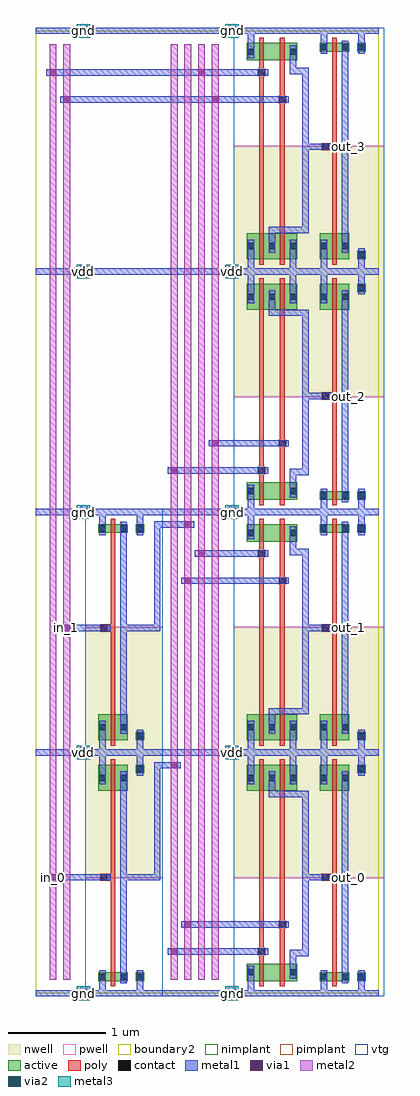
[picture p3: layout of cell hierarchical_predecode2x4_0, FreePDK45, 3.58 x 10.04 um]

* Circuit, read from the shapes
.subckt hierarchical_predecode2x4_0 gnd in_0 in_1 out_0 out_1 out_2 out_3 vdd
M1 pand2_2/A in_0 gnd gnd nfet w=0.09u l=0.05u
M2 pand2_2/B in_1 gnd gnd nfet w=0.09u l=0.05u
M3 pand2_2/pnand2_0_0/nmos_m1_w0_180_sm1_dactive_2/D pand2_2/A gnd gnd nfet w=0.18u l=0.05u
M4 pand2_3/pnand2_0_0/nmos_m1_w0_180_sm1_dactive_2/D in_0 gnd gnd nfet w=0.18u l=0.05u
M5 pand2_4/pnand2_0_0/nmos_m1_w0_180_sm1_dactive_2/D pand2_2/A gnd gnd nfet w=0.18u l=0.05u
M6 pand2_5/pnand2_0_0/nmos_m1_w0_180_sm1_dactive_2/D in_0 gnd gnd nfet w=0.18u l=0.05u
M7 pand2_2/pdriver_1/A pand2_2/B pand2_2/pnand2_0_0/nmos_m1_w0_180_sm1_dactive_2/D gnd nfet w=0.18u l=0.05u
M8 pand2_3/pdriver_1/A pand2_2/B pand2_3/pnand2_0_0/nmos_m1_w0_180_sm1_dactive_2/D gnd nfet w=0.18u l=0.05u
M9 pand2_4/pdriver_1/A in_1 pand2_4/pnand2_0_0/nmos_m1_w0_180_sm1_dactive_2/D gnd nfet w=0.18u l=0.05u
M10 pand2_5/pdriver_1/A in_1 pand2_5/pnand2_0_0/nmos_m1_w0_180_sm1_dactive_2/D gnd nfet w=0.18u l=0.05u
M11 out_0 pand2_2/pdriver_1/A gnd gnd nfet w=0.09u l=0.05u
M12 out_1 pand2_3/pdriver_1/A gnd gnd nfet w=0.09u l=0.05u
M13 out_2 pand2_4/pdriver_1/A gnd gnd nfet w=0.09u l=0.05u
M14 out_3 pand2_5/pdriver_1/A gnd gnd nfet w=0.09u l=0.05u
M15 pand2_2/A in_0 vdd vdd pfet w=0.27u l=0.05u
M16 pand2_2/B in_1 vdd vdd pfet w=0.27u l=0.05u
M17 pand2_2/pdriver_1/A pand2_2/A vdd vdd pfet w=0.27u l=0.05u
M18 pand2_3/pdriver_1/A in_0 vdd vdd pfet w=0.27u l=0.05u
M19 pand2_4/pdriver_1/A pand2_2/A vdd vdd pfet w=0.27u l=0.05u
M20 pand2_5/pdriver_1/A in_0 vdd vdd pfet w=0.27u l=0.05u
M21 vdd pand2_2/B pand2_2/pdriver_1/A vdd pfet w=0.27u l=0.05u
M22 vdd pand2_2/B pand2_3/pdriver_1/A vdd pfet w=0.27u l=0.05u
M23 vdd in_1 pand2_4/pdriver_1/A vdd pfet w=0.27u l=0.05u
M24 vdd in_1 pand2_5/pdriver_1/A vdd pfet w=0.27u l=0.05u
M25 out_0 pand2_2/pdriver_1/A vdd vdd pfet w=0.27u l=0.05u
M26 out_1 pand2_3/pdriver_1/A vdd vdd pfet w=0.27u l=0.05u
M27 out_2 pand2_4/pdriver_1/A vdd vdd pfet w=0.27u l=0.05u
M28 out_3 pand2_5/pdriver_1/A vdd vdd pfet w=0.27u l=0.05u
.ends

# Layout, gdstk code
import gdstk
lib = gdstk.Library(unit=1e-6, precision=5e-10)
def R(c, l, rs):  # rectangles x0, y0, x1, y1
    for r in rs: c.add(gdstk.rectangle(r[:2], r[2:], *l))
def A(c, l, x, y, w, h, nx, ny, dx, dy):  # array of equal rectangles
    R(c, l, [(x+i*dx, y+j*dy, x+i*dx+w, y+j*dy+h) for i in range(nx) for j in range(ny)])
active = (1, 0)
pwell = (2, 0)
nwell = (3, 0)
nimplant = (4, 0)
pimplant = (5, 0)
vtg = (6, 0)
poly = (9, 0)
contact = (10, 0)
metal1 = (11, 0)
via1 = (12, 0)
metal2 = (13, 0)
via2 = (14, 0)
metal3 = (15, 0)
boundary2 = (239, 0)

contact_10 = lib.new_cell('contact_10')
R(contact_10, active, [(0,0.0225,0.09,0.1125)])
R(contact_10, nwell, [(-0.055,-0.0325,0.145,0.1675)])
R(contact_10, pimplant, [(0,0.0225,0.09,0.1125)])
R(contact_10, contact, [(0.0125,0.035,0.0775,0.1)])
R(contact_10, metal1, [(0.0125,0,0.0775,0.135)])
R(contact_10, boundary2, [(-0.055,-0.0325,0.145,0.1675)])

pmos_m1_w0_270_sm1_dm1_d = lib.new_cell('pmos_m1_w0_270_sm1_dm1_da_p')
R(pmos_m1_w0_270_sm1_dm1_d, active, [(0,0,0.305,0.27)])
R(pmos_m1_w0_270_sm1_dm1_d, nwell, [(-0.08,-0.08,0.385,0.35)])
R(pmos_m1_w0_270_sm1_dm1_d, pimplant, [(0,0,0.305,0.27)])
R(pmos_m1_w0_270_sm1_dm1_d, vtg, [(-0.08,-0.08,0.385,0.35)])
R(pmos_m1_w0_270_sm1_dm1_d, poly, [(0.1275,-0.055,0.1775,0.325), (0.1275,-0.055,0.1775,0.325)])
R(pmos_m1_w0_270_sm1_dm1_d, metal1, [(0.0125,0.0675,0.0775,0.2025), (0.2275,0.0675,0.2925,0.2025)])
R(pmos_m1_w0_270_sm1_dm1_d, boundary2, [(-0.08,-0.08,0.385,0.35)])
pmos_m1_w0_270_sm1_dm1_d.add(gdstk.Reference(contact_10, (0,0.0675)))
pmos_m1_w0_270_sm1_dm1_d.add(gdstk.Reference(contact_10, (0.215,0.0675)))
pmos_m1_w0_270_sm1_dm1_d.add(gdstk.Label('S', (0.045,0.135), layer=11, texttype=0))
pmos_m1_w0_270_sm1_dm1_d.add(gdstk.Label('D', (0.26,0.135), layer=11, texttype=0))
pmos_m1_w0_270_sm1_dm1_d.add(gdstk.Label('G', (0.1525,0.135), layer=9, texttype=0))

contact_9 = lib.new_cell('contact_9')
R(contact_9, active, [(0,0.0225,0.09,0.1125)])
R(contact_9, pwell, [(-0.055,-0.0325,0.145,0.1675)])
R(contact_9, nimplant, [(0,0.0225,0.09,0.1125)])
R(contact_9, contact, [(0.0125,0.035,0.0775,0.1)])
R(contact_9, metal1, [(0.0125,0,0.0775,0.135)])
R(contact_9, boundary2, [(-0.055,-0.0325,0.145,0.1675)])

nmos_m1_w0_090_sm1_dm1_d = lib.new_cell('nmos_m1_w0_090_sm1_dm1_da_p')
R(nmos_m1_w0_090_sm1_dm1_d, active, [(0,0,0.305,0.09)])
R(nmos_m1_w0_090_sm1_dm1_d, pwell, [(-0.08,-0.08,0.385,0.17)])
R(nmos_m1_w0_090_sm1_dm1_d, nimplant, [(0,0,0.305,0.09)])
R(nmos_m1_w0_090_sm1_dm1_d, vtg, [(-0.08,-0.08,0.385,0.17)])
R(nmos_m1_w0_090_sm1_dm1_d, poly, [(0.1275,-0.055,0.1775,0.145), (0.1275,-0.055,0.1775,0.145)])
R(nmos_m1_w0_090_sm1_dm1_d, metal1, [(0.0125,-0.0225,0.0775,0.1125), (0.2275,-0.0225,0.2925,0.1125)])
R(nmos_m1_w0_090_sm1_dm1_d, boundary2, [(-0.08,-0.08,0.385,0.17)])
nmos_m1_w0_090_sm1_dm1_d.add(gdstk.Reference(contact_9, (0,-0.0225)))
nmos_m1_w0_090_sm1_dm1_d.add(gdstk.Reference(contact_9, (0.215,-0.0225)))
nmos_m1_w0_090_sm1_dm1_d.add(gdstk.Label('S', (0.045,0.045), layer=11, texttype=0))
nmos_m1_w0_090_sm1_dm1_d.add(gdstk.Label('D', (0.26,0.045), layer=11, texttype=0))
nmos_m1_w0_090_sm1_dm1_d.add(gdstk.Label('G', (0.1525,0.045), layer=9, texttype=0))

contact_11 = lib.new_cell('contact_11')
R(contact_11, active, [(0,0.0225,0.09,0.1125)])
R(contact_11, nwell, [(-0.055,-0.0325,0.145,0.1675)])
R(contact_11, nimplant, [(0,0.0225,0.09,0.1125)])
R(contact_11, contact, [(0.0125,0.035,0.0775,0.1)])
R(contact_11, metal1, [(0.0125,0,0.0775,0.135)])
R(contact_11, boundary2, [(-0.055,-0.0325,0.145,0.1675)])

contact_12 = lib.new_cell('contact_12')
R(contact_12, active, [(0,0.0225,0.09,0.1125)])
R(contact_12, pwell, [(-0.055,-0.0325,0.145,0.1675)])
R(contact_12, pimplant, [(0,0.0225,0.09,0.1125)])
R(contact_12, contact, [(0.0125,0.035,0.0775,0.1)])
R(contact_12, metal1, [(0.0125,0,0.0775,0.135)])
R(contact_12, boundary2, [(-0.055,-0.0325,0.145,0.1675)])

contact_13 = lib.new_cell('contact_13')
R(contact_13, poly, [(0.03,0,0.105,0.075)])
R(contact_13, contact, [(0.035,0.005,0.1,0.07)])
R(contact_13, metal1, [(0,0.005,0.135,0.07)])
R(contact_13, boundary2, [(0,0,0.135,0.075)])

pinv_2 = lib.new_cell('pinv_2')
R(pinv_2, pwell, [(-0.055,-0.0325,0.7425,1.1875)])
R(pinv_2, nwell, [(-0.055,1.1875,0.7425,2.51)])
R(pinv_2, vtg, [(-0.055,-0.0325,0.7425,1.1875), (-0.055,1.1875,0.7425,2.51)])
R(pinv_2, poly, [(0.2075,0.27,0.2575,2.025), (0.14,1.155,0.2075,1.23)])
R(pinv_2, metal1, [(0,-0.0325,0.6875,0.0325), (0.0925,-0.0325,0.1575,0.1025), (0.4775,0,0.5425,0.17), (0.3075,0.1025,0.3725,2.2825), (0.0725,1.16,0.2075,1.225), (0.34,1.16,0.405,1.225), (0.0925,2.1475,0.1575,2.5075), (0.4775,2.305,0.5425,2.475), (0,2.4425,0.6875,2.5075)])
R(pinv_2, boundary2, [(0,0,0.6875,2.475), (0,0,0.6875,2.475)])
pinv_2.add(gdstk.Reference(pmos_m1_w0_270_sm1_dm1_d, (0.08,2.08)))
pinv_2.add(gdstk.Reference(nmos_m1_w0_090_sm1_dm1_d, (0.08,0.125)))
pinv_2.add(gdstk.Reference(contact_11, (0.465,2.2375)))
pinv_2.add(gdstk.Reference(contact_12, (0.465,0.1025)))
pinv_2.add(gdstk.Reference(contact_13, (0.0725,1.155)))
pinv_2.add(gdstk.Label('A', (0.14,1.1925), layer=11, texttype=0))
pinv_2.add(gdstk.Label('Z', (0.3725,1.1925), layer=11, texttype=0))
pinv_2.add(gdstk.Label('gnd', (0.344,0), layer=11, texttype=0))
pinv_2.add(gdstk.Label('vdd', (0.344,2.475), layer=11, texttype=0))

pmos_m1_w0_270_sm1_dm1 = lib.new_cell('pmos_m1_w0_270_sm1_dm1')
R(pmos_m1_w0_270_sm1_dm1, active, [(0,0,0.305,0.27)])
R(pmos_m1_w0_270_sm1_dm1, nwell, [(-0.08,-0.08,0.385,0.35)])
R(pmos_m1_w0_270_sm1_dm1, pimplant, [(0,0,0.305,0.27)])
R(pmos_m1_w0_270_sm1_dm1, vtg, [(-0.08,-0.08,0.385,0.35)])
R(pmos_m1_w0_270_sm1_dm1, poly, [(0.1275,-0.055,0.1775,0.325), (0.1275,-0.055,0.1775,0.325)])
R(pmos_m1_w0_270_sm1_dm1, metal1, [(0.0125,0.0675,0.0775,0.2025), (0.2275,0.0675,0.2925,0.2025)])
R(pmos_m1_w0_270_sm1_dm1, boundary2, [(-0.08,-0.08,0.385,0.35)])
pmos_m1_w0_270_sm1_dm1.add(gdstk.Reference(contact_10, (0,0.0675)))
pmos_m1_w0_270_sm1_dm1.add(gdstk.Reference(contact_10, (0.215,0.0675)))
pmos_m1_w0_270_sm1_dm1.add(gdstk.Label('S', (0.045,0.135), layer=11, texttype=0))
pmos_m1_w0_270_sm1_dm1.add(gdstk.Label('D', (0.26,0.135), layer=11, texttype=0))
pmos_m1_w0_270_sm1_dm1.add(gdstk.Label('G', (0.1525,0.135), layer=9, texttype=0))

nmos_m1_w0_180_sm1_dacti = lib.new_cell('nmos_m1_w0_180_sm1_dactive')
R(nmos_m1_w0_180_sm1_dacti, active, [(0,0,0.305,0.18), (0.215,0.045,0.305,0.135)])
R(nmos_m1_w0_180_sm1_dacti, pwell, [(-0.08,-0.08,0.385,0.26)])
R(nmos_m1_w0_180_sm1_dacti, nimplant, [(0,0,0.305,0.18)])
R(nmos_m1_w0_180_sm1_dacti, vtg, [(-0.08,-0.08,0.385,0.26)])
R(nmos_m1_w0_180_sm1_dacti, poly, [(0.1275,-0.055,0.1775,0.235), (0.1275,-0.055,0.1775,0.235)])
R(nmos_m1_w0_180_sm1_dacti, metal1, [(0.0125,0.0225,0.0775,0.1575)])
R(nmos_m1_w0_180_sm1_dacti, boundary2, [(-0.08,-0.08,0.385,0.26)])
nmos_m1_w0_180_sm1_dacti.add(gdstk.Reference(contact_9, (0,0.0225)))
nmos_m1_w0_180_sm1_dacti.add(gdstk.Label('S', (0.045,0.09), layer=11, texttype=0))
nmos_m1_w0_180_sm1_dacti.add(gdstk.Label('D', (0.26,0.09), layer=1, texttype=0))
nmos_m1_w0_180_sm1_dacti.add(gdstk.Label('G', (0.1525,0.09), layer=9, texttype=0))

nmos_m1_w0_180_sactive_d = lib.new_cell('nmos_m1_w0_180_sactive_dm1')
R(nmos_m1_w0_180_sactive_d, active, [(0,0,0.305,0.18), (0,0.045,0.09,0.135)])
R(nmos_m1_w0_180_sactive_d, pwell, [(-0.08,-0.08,0.385,0.26)])
R(nmos_m1_w0_180_sactive_d, nimplant, [(0,0,0.305,0.18)])
R(nmos_m1_w0_180_sactive_d, vtg, [(-0.08,-0.08,0.385,0.26)])
R(nmos_m1_w0_180_sactive_d, poly, [(0.1275,-0.055,0.1775,0.235), (0.1275,-0.055,0.1775,0.235)])
R(nmos_m1_w0_180_sactive_d, metal1, [(0.2275,0.0225,0.2925,0.1575)])
R(nmos_m1_w0_180_sactive_d, boundary2, [(-0.08,-0.08,0.385,0.26)])
nmos_m1_w0_180_sactive_d.add(gdstk.Reference(contact_9, (0.215,0.0225)))
nmos_m1_w0_180_sactive_d.add(gdstk.Label('D', (0.26,0.09), layer=11, texttype=0))
nmos_m1_w0_180_sactive_d.add(gdstk.Label('S', (0.045,0.09), layer=1, texttype=0))
nmos_m1_w0_180_sactive_d.add(gdstk.Label('G', (0.1525,0.09), layer=9, texttype=0))

pnand2_0 = lib.new_cell('pnand2_0')
R(pnand2_0, pwell, [(-0.055,-0.0325,0.805,1.1875)])
R(pnand2_0, nwell, [(-0.055,1.1875,0.805,2.51)])
R(pnand2_0, vtg, [(-0.055,-0.0325,0.805,1.1875), (-0.055,1.1875,0.805,2.51)])
R(pnand2_0, poly, [(0.2075,0.36,0.2575,2.025), (0.4225,0.36,0.4725,2.025), (0.2075,0.39,0.2325,0.465), (0.4225,0.67,0.4475,0.745)])
R(pnand2_0, metal1, [(0,-0.0325,0.75,0.0325), (0.0925,-0.0325,0.1575,0.1475), (0.5225,0.2825,0.5875,0.4125), (0.5225,0.38,0.5875,0.445), (0.555,0.38,0.685,0.445), (0.6525,0.38,0.7175,0.445), (0.165,0.395,0.3,0.46), (0.6525,0.4125,0.7175,2.05), (0.38,0.675,0.515,0.74), (0.3075,2.0175,0.3725,2.0825), (0.34,2.0175,0.685,2.0825), (0.6525,2.0175,0.7175,2.0825), (0.3075,2.05,0.3725,2.1475), (0.0925,2.1475,0.1575,2.5075), (0.5225,2.1475,0.5875,2.5075), (0,2.4425,0.75,2.5075)])
R(pnand2_0, boundary2, [(0,0,0.75,2.475), (0,0,0.75,2.475)])
pnand2_0.add(gdstk.Reference(pmos_m1_w0_270_sm1_dm1, (0.08,2.08)))
pnand2_0.add(gdstk.Reference(pmos_m1_w0_270_sm1_dm1, (0.295,2.08)))
pnand2_0.add(gdstk.Reference(nmos_m1_w0_180_sm1_dacti, (0.08,0.125)))
pnand2_0.add(gdstk.Reference(nmos_m1_w0_180_sactive_d, (0.295,0.125)))
pnand2_0.add(gdstk.Reference(contact_13, (0.165,0.39)))
pnand2_0.add(gdstk.Reference(contact_13, (0.38,0.67)))
pnand2_0.add(gdstk.Label('Z', (0.685,2.05), layer=11, texttype=0))
pnand2_0.add(gdstk.Label('gnd', (0.375,0), layer=11, texttype=0))
pnand2_0.add(gdstk.Label('vdd', (0.375,2.475), layer=11, texttype=0))
pnand2_0.add(gdstk.Label('A', (0.2325,0.4275), layer=11, texttype=0))
pnand2_0.add(gdstk.Label('B', (0.4475,0.7075), layer=11, texttype=0))

pinv_1 = lib.new_cell('pinv_1')
R(pinv_1, pwell, [(-0.055,-0.0325,0.7425,1.1875)])
R(pinv_1, nwell, [(-0.055,1.1875,0.7425,2.51)])
R(pinv_1, vtg, [(-0.055,-0.0325,0.7425,1.1875), (-0.055,1.1875,0.7425,2.51)])
R(pinv_1, poly, [(0.2075,0.27,0.2575,2.025), (0.14,1.155,0.2075,1.23)])
R(pinv_1, metal1, [(0,-0.0325,0.6875,0.0325), (0.0925,-0.0325,0.1575,0.1025), (0.4775,0,0.5425,0.17), (0.3075,0.1025,0.3725,2.2825), (0.0725,1.16,0.2075,1.225), (0.34,1.16,0.405,1.225), (0.0925,2.1475,0.1575,2.5075), (0.4775,2.305,0.5425,2.475), (0,2.4425,0.6875,2.5075)])
R(pinv_1, boundary2, [(0,0,0.6875,2.475), (0,0,0.6875,2.475)])
pinv_1.add(gdstk.Reference(pmos_m1_w0_270_sm1_dm1_d, (0.08,2.08)))
pinv_1.add(gdstk.Reference(nmos_m1_w0_090_sm1_dm1_d, (0.08,0.125)))
pinv_1.add(gdstk.Reference(contact_11, (0.465,2.2375)))
pinv_1.add(gdstk.Reference(contact_12, (0.465,0.1025)))
pinv_1.add(gdstk.Reference(contact_13, (0.0725,1.155)))
pinv_1.add(gdstk.Label('A', (0.14,1.1925), layer=11, texttype=0))
pinv_1.add(gdstk.Label('Z', (0.3725,1.1925), layer=11, texttype=0))
pinv_1.add(gdstk.Label('gnd', (0.344,0), layer=11, texttype=0))
pinv_1.add(gdstk.Label('vdd', (0.344,2.475), layer=11, texttype=0))

pdriver = lib.new_cell('pdriver')
R(pdriver, pwell, [(-0.055,-0.0325,0.7425,1.1875)])
R(pdriver, nwell, [(-0.055,1.1875,0.7425,2.51)])
R(pdriver, vtg, [(-0.055,-0.0325,0.7425,1.1875), (-0.055,1.1875,0.7425,2.51)])
R(pdriver, metal1, [(0,-0.0325,0.6875,0.0325), (0.0725,1.16,0.2075,1.225), (0.34,1.16,0.405,1.225), (0,2.4425,0.6875,2.5075)])
R(pdriver, boundary2, [(0,0,0.6875,2.475), (0,0,0.6875,2.475)])
pdriver.add(gdstk.Reference(pinv_1, (0,0)))
pdriver.add(gdstk.Label('Z', (0.3725,1.1925), layer=11, texttype=0))
pdriver.add(gdstk.Label('A', (0.14,1.1925), layer=11, texttype=0))
pdriver.add(gdstk.Label('gnd', (0.344,0), layer=11, texttype=0))
pdriver.add(gdstk.Label('vdd', (0.344,2.475), layer=11, texttype=0))

pand2 = lib.new_cell('pand2')
R(pand2, metal1, [(0,-0.0325,1.4375,0.0325), (0.165,0.395,0.3,0.46), (0.38,0.675,0.515,0.74), (0.6525,1.16,0.7175,1.225), (0.685,1.16,0.89,1.225), (1.09,1.16,1.155,1.225), (0.6525,1.1925,0.7175,2.05), (0,2.4425,1.4375,2.5075)])
R(pand2, boundary2, [(0,0,1.4375,2.475), (0,0,1.4375,2.475)])
pand2.add(gdstk.Reference(pnand2_0, (0,0)))
pand2.add(gdstk.Reference(pdriver, (0.75,0)))
pand2.add(gdstk.Label('Z', (1.1225,1.1925), layer=11, texttype=0))
pand2.add(gdstk.Label('A', (0.2325,0.4275), layer=11, texttype=0))
pand2.add(gdstk.Label('B', (0.4475,0.7075), layer=11, texttype=0))
pand2.add(gdstk.Label('gnd', (0.719,0), layer=11, texttype=0))
pand2.add(gdstk.Label('vdd', (0.719,2.475), layer=11, texttype=0))

contact_14 = lib.new_cell('contact_14')
R(contact_14, metal1, [(0,0.035,0.135,0.1)])
R(contact_14, via1, [(0.035,0.035,0.1,0.1)])
R(contact_14, metal2, [(0.0325,0,0.1025,0.135)])
R(contact_14, boundary2, [(0,0,0.135,0.135)])

contact_6 = lib.new_cell('contact_6')
R(contact_6, metal1, [(0,0.035,0.135,0.1)])
R(contact_6, via1, [(0.035,0.035,0.1,0.1)])
R(contact_6, metal2, [(0.0325,0,0.1025,0.135)])
R(contact_6, boundary2, [(0,0,0.135,0.135)])

contact_7 = lib.new_cell('contact_7')
R(contact_7, metal2, [(0.035,0,0.105,0.14)])
R(contact_7, via2, [(0.035,0.035,0.105,0.105)])
R(contact_7, metal3, [(0,0.035,0.14,0.105)])
R(contact_7, boundary2, [(0,0,0.14,0.14)])

hierarchical_predecode2x = lib.new_cell('hierarchical_predecode2x4_0')
R(hierarchical_predecode2x, metal1, [(0,-0.0325,3.525,0.0325), (1.4225,0.395,2.32,0.46), (2.2875,0.395,2.3525,0.46), (1.5625,0.675,2.535,0.74), (2.5025,0.675,2.5675,0.74), (0.175,1.16,0.7,1.225), (0.6675,1.16,0.7325,1.225), (0.9325,1.16,0.9975,1.225), (0.965,1.16,1.2475,1.225), (1.215,1.16,1.28,1.225), (3.1775,1.16,3.2425,1.225), (1.215,1.1925,1.28,2.345), (1.215,2.3125,1.28,2.3775), (1.2475,2.3125,1.4225,2.3775), (0,2.4425,3.525,2.5075), (0,2.4425,3.525,2.5075), (0.315,3.725,0.7,3.79), (0.6675,3.725,0.7325,3.79), (0.9325,3.725,0.9975,3.79), (0.965,3.725,1.2475,3.79), (1.215,3.725,1.28,3.79), (3.1775,3.725,3.2425,3.79), (1.215,3.7575,1.28,4.82), (1.5625,4.21,2.535,4.275), (2.5025,4.21,2.5675,4.275), (1.7025,4.49,2.32,4.555), (2.2875,4.49,2.3525,4.555), (1.215,4.7875,1.28,4.8525), (1.2475,4.7875,1.5625,4.8525), (0,4.9175,3.525,4.9825), (0,4.9175,3.525,4.9825), (1.4225,5.345,2.32,5.41), (2.2875,5.345,2.3525,5.41), (1.8425,5.625,2.535,5.69), (2.5025,5.625,2.5675,5.69), (3.1775,6.11,3.2425,6.175), (0,7.3925,3.525,7.4575), (0,7.3925,3.525,7.4575), (3.1775,8.675,3.2425,8.74), (0.315,9.16,1.8425,9.225), (1.8425,9.16,2.535,9.225), (2.5025,9.16,2.5675,9.225), (0.175,9.44,1.7025,9.505), (1.7025,9.44,2.32,9.505), (2.2875,9.44,2.3525,9.505), (0,9.8675,3.525,9.9325)])
A(hierarchical_predecode2x, metal2, 1.3875, 0.14, 0.07, 9.62, 4, 1, 0.14, 0)
R(hierarchical_predecode2x, metal2, [(0.14,0.14,0.21,9.76), (0.28,0.14,0.35,9.76), (0.14,1.125,0.21,1.26), (0.28,3.69,0.35,3.825)])
A(hierarchical_predecode2x, metal3, 0.42, 2.405, 0.14, 0.14, 1, 3, 0, 2.475)
A(hierarchical_predecode2x, metal3, 1.9475, 2.405, 0.14, 0.14, 1, 3, 0, 2.475)
R(hierarchical_predecode2x, metal3, [(0.42,-0.07,0.56,0.07), (1.9475,-0.07,2.0875,0.07), (0.42,2.405,0.56,2.545), (1.9475,2.405,2.0875,2.545), (0.42,7.355,0.56,7.495), (1.9475,7.355,2.0875,7.495), (0.42,9.83,0.56,9.97), (1.9475,9.83,2.0875,9.97)])
R(hierarchical_predecode2x, boundary2, [(0,0,3.525,9.9)])
hierarchical_predecode2x.add(gdstk.Reference(pinv_2, (0.56,0)))
hierarchical_predecode2x.add(gdstk.Reference(pinv_2, (0.56,4.95), x_reflection=True))
hierarchical_predecode2x.add(gdstk.Reference(pand2, (2.0875,0)))
hierarchical_predecode2x.add(gdstk.Reference(pand2, (2.0875,4.95), x_reflection=True))
hierarchical_predecode2x.add(gdstk.Reference(pand2, (2.0875,4.95)))
hierarchical_predecode2x.add(gdstk.Reference(pand2, (2.0875,9.9), x_reflection=True))
hierarchical_predecode2x.add(gdstk.Reference(contact_14, (0.1075,1.125)))
hierarchical_predecode2x.add(gdstk.Reference(contact_14, (0.2475,3.69)))
hierarchical_predecode2x.add(gdstk.Reference(contact_14, (1.355,2.2775)))
hierarchical_predecode2x.add(gdstk.Reference(contact_14, (1.495,4.7525)))
hierarchical_predecode2x.add(gdstk.Reference(contact_6, (0.1075,9.405)))
hierarchical_predecode2x.add(gdstk.Reference(contact_6, (1.635,9.405)))
hierarchical_predecode2x.add(gdstk.Reference(contact_6, (0.2475,9.125)))
hierarchical_predecode2x.add(gdstk.Reference(contact_6, (1.775,9.125)))
hierarchical_predecode2x.add(gdstk.Reference(contact_14, (1.355,0.36)))
hierarchical_predecode2x.add(gdstk.Reference(contact_14, (1.495,0.64)))
hierarchical_predecode2x.add(gdstk.Reference(contact_14, (1.635,4.455)))
hierarchical_predecode2x.add(gdstk.Reference(contact_14, (1.495,4.175)))
hierarchical_predecode2x.add(gdstk.Reference(contact_14, (1.355,5.31)))
hierarchical_predecode2x.add(gdstk.Reference(contact_14, (1.775,5.59)))
hierarchical_predecode2x.add(gdstk.Reference(contact_14, (1.635,9.405)))
hierarchical_predecode2x.add(gdstk.Reference(contact_14, (1.775,9.125)))
hierarchical_predecode2x.add(gdstk.Reference(contact_6, (0.4225,2.4075)))
hierarchical_predecode2x.add(gdstk.Reference(contact_7, (0.42,2.405)))
hierarchical_predecode2x.add(gdstk.Reference(contact_6, (1.95,2.4075)))
hierarchical_predecode2x.add(gdstk.Reference(contact_7, (1.9475,2.405)))
hierarchical_predecode2x.add(gdstk.Reference(contact_6, (0.4225,-0.0675)))
hierarchical_predecode2x.add(gdstk.Reference(contact_7, (0.42,-0.07)))
hierarchical_predecode2x.add(gdstk.Reference(contact_6, (1.95,-0.0675)))
hierarchical_predecode2x.add(gdstk.Reference(contact_7, (1.9475,-0.07)))
hierarchical_predecode2x.add(gdstk.Reference(contact_6, (0.4225,2.4075)))
hierarchical_predecode2x.add(gdstk.Reference(contact_7, (0.42,2.405)))
hierarchical_predecode2x.add(gdstk.Reference(contact_6, (1.95,2.4075)))
hierarchical_predecode2x.add(gdstk.Reference(contact_7, (1.9475,2.405)))
hierarchical_predecode2x.add(gdstk.Reference(contact_6, (0.4225,4.8825)))
hierarchical_predecode2x.add(gdstk.Reference(contact_7, (0.42,4.88)))
hierarchical_predecode2x.add(gdstk.Reference(contact_6, (1.95,4.8825)))
hierarchical_predecode2x.add(gdstk.Reference(contact_7, (1.9475,4.88)))
hierarchical_predecode2x.add(gdstk.Reference(contact_6, (0.4225,7.3575)))
hierarchical_predecode2x.add(gdstk.Reference(contact_7, (0.42,7.355)))
hierarchical_predecode2x.add(gdstk.Reference(contact_6, (1.95,7.3575)))
hierarchical_predecode2x.add(gdstk.Reference(contact_7, (1.9475,7.355)))
hierarchical_predecode2x.add(gdstk.Reference(contact_6, (0.4225,4.8825)))
hierarchical_predecode2x.add(gdstk.Reference(contact_7, (0.42,4.88)))
hierarchical_predecode2x.add(gdstk.Reference(contact_6, (1.95,4.8825)))
hierarchical_predecode2x.add(gdstk.Reference(contact_7, (1.9475,4.88)))
hierarchical_predecode2x.add(gdstk.Reference(contact_6, (0.4225,7.3575)))
hierarchical_predecode2x.add(gdstk.Reference(contact_7, (0.42,7.355)))
hierarchical_predecode2x.add(gdstk.Reference(contact_6, (1.95,7.3575)))
hierarchical_predecode2x.add(gdstk.Reference(contact_7, (1.9475,7.355)))
hierarchical_predecode2x.add(gdstk.Reference(contact_6, (0.4225,9.8325)))
hierarchical_predecode2x.add(gdstk.Reference(contact_7, (0.42,9.83)))
hierarchical_predecode2x.add(gdstk.Reference(contact_6, (1.95,9.8325)))
hierarchical_predecode2x.add(gdstk.Reference(contact_7, (1.9475,9.83)))
hierarchical_predecode2x.add(gdstk.Label('in_0', (0.175,1.1925), layer=13, texttype=0))
hierarchical_predecode2x.add(gdstk.Label('in_1', (0.315,3.7575), layer=13, texttype=0))
hierarchical_predecode2x.add(gdstk.Label('vdd', (0.49,7.425), layer=15, texttype=0))
hierarchical_predecode2x.add(gdstk.Label('vdd', (0.49,7.425), layer=15, texttype=0))
hierarchical_predecode2x.add(gdstk.Label('vdd', (2.0175,7.425), layer=15, texttype=0))
hierarchical_predecode2x.add(gdstk.Label('vdd', (0.49,2.475), layer=15, texttype=0))
hierarchical_predecode2x.add(gdstk.Label('vdd', (0.49,2.475), layer=15, texttype=0))
hierarchical_predecode2x.add(gdstk.Label('vdd', (2.0175,2.475), layer=15, texttype=0))
hierarchical_predecode2x.add(gdstk.Label('vdd', (2.0175,2.475), layer=15, texttype=0))
hierarchical_predecode2x.add(gdstk.Label('vdd', (2.0175,7.425), layer=15, texttype=0))
hierarchical_predecode2x.add(gdstk.Label('gnd', (0.49,4.95), layer=15, texttype=0))
hierarchical_predecode2x.add(gdstk.Label('gnd', (2.0175,9.9), layer=15, texttype=0))
hierarchical_predecode2x.add(gdstk.Label('gnd', (0.49,0), layer=15, texttype=0))
hierarchical_predecode2x.add(gdstk.Label('gnd', (2.0175,0), layer=15, texttype=0))
hierarchical_predecode2x.add(gdstk.Label('gnd', (0.49,9.9), layer=15, texttype=0))
hierarchical_predecode2x.add(gdstk.Label('gnd', (2.0175,4.95), layer=15, texttype=0))
hierarchical_predecode2x.add(gdstk.Label('out_0', (3.21,1.1925), layer=11, texttype=0))
hierarchical_predecode2x.add(gdstk.Label('out_1', (3.21,3.7575), layer=11, texttype=0))
hierarchical_predecode2x.add(gdstk.Label('out_2', (3.21,6.1425), layer=11, texttype=0))
hierarchical_predecode2x.add(gdstk.Label('out_3', (3.21,8.7075), layer=11, texttype=0))

lib.write_gds('hierarchical_predecode2x4_0.gds')
